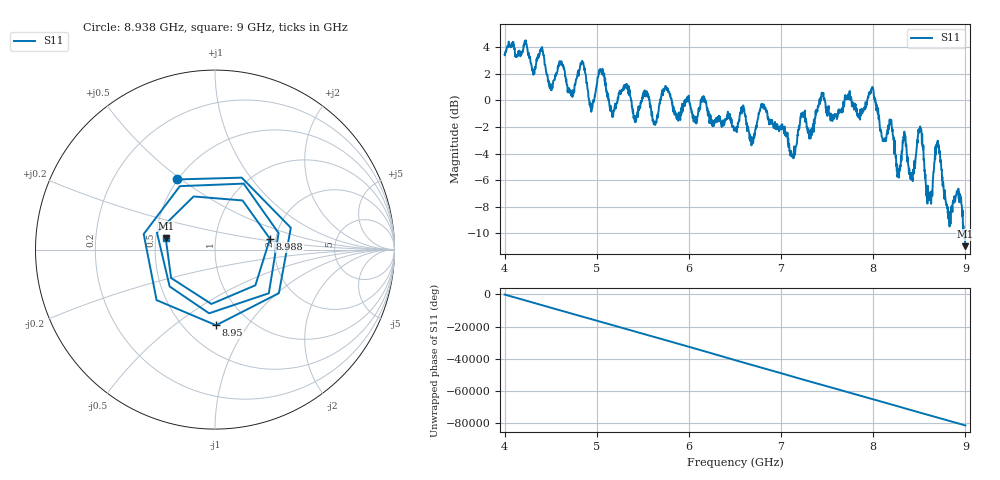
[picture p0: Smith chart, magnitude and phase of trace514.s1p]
! Created with skrf 1.8.0 (http://scikit-rf.org).
# Hz S RI R 50.0
!freq ReS11 ImS11
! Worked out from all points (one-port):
!   1601 points, 4 GHz to 9 GHz, reference 50 ohm
!   lowest |S11| = -11.0 dB at 9 GHz (marker M1), VSWR 1.79, Z = 28.3 + j3.95 ohm
!   |S11| at or under -10 dB: 8.982688 GHz to end of sweep
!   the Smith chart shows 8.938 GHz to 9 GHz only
!   S11 on the Smith chart (normalised r, x): 8.938 GHz: 0.49, +0.48; 8.95 GHz: 0.71, -0.72; 8.988 GHz: 1.86, +0.25; 9 GHz: 0.57, +0.08
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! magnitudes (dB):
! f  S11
! 4 GHz  3.4
! 4.5 GHz  1.2
! 4.625 GHz  2.7
! 4.731 GHz  0.3
! 4.844 GHz  2.9
! 4.941 GHz  -0.9
! 5.044 GHz  2.2
! 5.162 GHz  -0.8
! 5.25 GHz  0.7
! 5.875 GHz  -1.4
! 6.5 GHz  -2.2
! 6.691 GHz  -3.0
! 6.806 GHz  -0.5
! 7.125 GHz  -4.3
! 7.234 GHz  -1.0
! 7.75 GHz  0.3
! 7.991 GHz  1.0
! 8.269 GHz  -5.5
! 8.375 GHz  -4.7
! 8.428 GHz  -6.1
! 8.506 GHz  -2.1
! 8.597 GHz  -7.2
! 8.7 GHz  -3.0
! 8.812 GHz  -8.2
! 8.938 GHz  -7.0
! 8.95 GHz  -7.5
! 8.988 GHz  -10.1
! 9 GHz  -11.0
